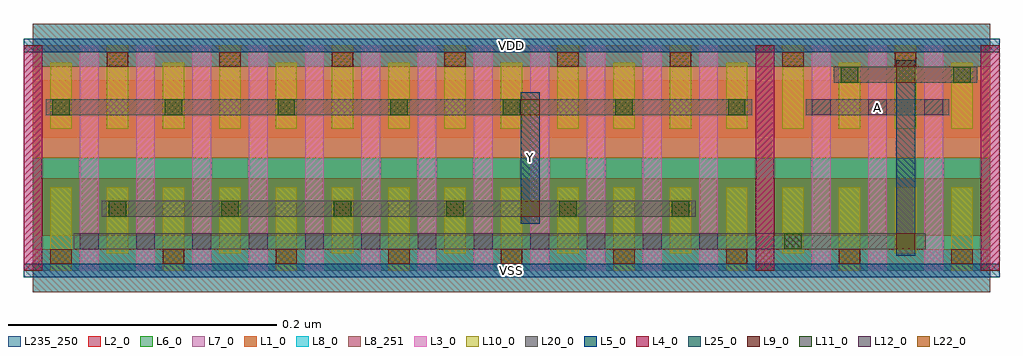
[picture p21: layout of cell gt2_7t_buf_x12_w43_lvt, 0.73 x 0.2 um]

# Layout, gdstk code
import gdstk
lib = gdstk.Library(unit=1e-6, precision=5e-10)
def R(c, l, rs):  # rectangles x0, y0, x1, y1
    for r in rs: c.add(gdstk.rectangle(r[:2], r[2:], *l))
def A(c, l, x, y, w, h, nx, ny, dx, dy):  # array of equal rectangles
    R(c, l, [(x+i*dx, y+j*dy, x+i*dx+w, y+j*dy+h) for i in range(nx) for j in range(ny)])
L1_0 = (1, 0)
L2_0 = (2, 0)
L3_0 = (3, 0)
L4_0 = (4, 0)
L5_0 = (5, 0)
L6_0 = (6, 0)
L7_0 = (7, 0)
L8_0 = (8, 0)
L8_251 = (8, 251)
L9_0 = (9, 0)
L10_0 = (10, 0)
L11_0 = (11, 0)
L12_0 = (12, 0)
L20_0 = (20, 0)
L22_0 = (22, 0)
L25_0 = (25, 0)
L235_250 = (235, 250)

gt2_7t_buf_x12_w43_lvt = lib.new_cell('gt2_7t_buf_x12_w43_lvt')
R(gt2_7t_buf_x12_w43_lvt, L1_0, [(0,0.084,0.714,0.168)])
R(gt2_7t_buf_x12_w43_lvt, L2_0, [(0,0.026,0.714,0.069), (0,0.099,0.714,0.142)])
A(gt2_7t_buf_x12_w43_lvt, L3_0, -0.007, 0, 0.014, 0.168, 18, 1, 0.042, 0)
R(gt2_7t_buf_x12_w43_lvt, L4_0, [(-0.007,0,0.007,0.168), (0.539,0,0.553,0.168), (0.707,0,0.721,0.168)])
R(gt2_7t_buf_x12_w43_lvt, L5_0, [(-0.007,-0.005,0.721,0.005), (-0.007,0.163,0.721,0.173)])
R(gt2_7t_buf_x12_w43_lvt, L6_0, [(0,0,0.714,0.084)])
R(gt2_7t_buf_x12_w43_lvt, L7_0, [(0,0.084,0.714,0.168)])
R(gt2_7t_buf_x12_w43_lvt, L8_0, [(0,-0.016,0.714,0.016), (0,0.152,0.714,0.184)])
R(gt2_7t_buf_x12_w43_lvt, L8_251, [(0,-0.016,0.714,0.016), (0,0.152,0.714,0.184)])
A(gt2_7t_buf_x12_w43_lvt, L9_0, 0.013, 0.005, 0.016, 0.011, 9, 1, 0.084, 0)
A(gt2_7t_buf_x12_w43_lvt, L9_0, 0.055, 0.152, 0.016, 0.011, 8, 1, 0.084, 0)
A(gt2_7t_buf_x12_w43_lvt, L10_0, 0.013, 0, 0.016, 0.062, 9, 1, 0.084, 0)
A(gt2_7t_buf_x12_w43_lvt, L10_0, 0.055, 0.013, 0.016, 0.049, 8, 1, 0.084, 0)
A(gt2_7t_buf_x12_w43_lvt, L10_0, 0.013, 0.106, 0.016, 0.049, 9, 1, 0.084, 0)
A(gt2_7t_buf_x12_w43_lvt, L10_0, 0.055, 0.106, 0.016, 0.062, 8, 1, 0.084, 0)
A(gt2_7t_buf_x12_w43_lvt, L11_0, 0.0565, 0.04, 0.013, 0.012, 6, 1, 0.084, 0)
A(gt2_7t_buf_x12_w43_lvt, L11_0, 0.0145, 0.116, 0.013, 0.012, 7, 1, 0.084, 0)
R(gt2_7t_buf_x12_w43_lvt, L11_0, [(0.5605,0.016,0.5735,0.028), (0.6445,0.016,0.6575,0.028), (0.6025,0.14,0.6155,0.152), (0.6865,0.14,0.6995,0.152)])
A(gt2_7t_buf_x12_w43_lvt, L12_0, 0.035, 0.016, 0.014, 0.012, 12, 1, 0.042, 0)
A(gt2_7t_buf_x12_w43_lvt, L12_0, 0.581, 0.116, 0.014, 0.012, 3, 1, 0.042, 0)
R(gt2_7t_buf_x12_w43_lvt, L20_0, [(0.0305,0.016,0.666,0.028), (0.0515,0.04,0.4945,0.052), (0.0095,0.116,0.5365,0.128), (0.5765,0.116,0.6835,0.128), (0.5975,0.14,0.7045,0.152)])
R(gt2_7t_buf_x12_w43_lvt, L22_0, [(0.644,0.016,0.658,0.028), (0.364,0.04,0.378,0.052), (0.364,0.116,0.378,0.128), (0.644,0.14,0.658,0.152)])
R(gt2_7t_buf_x12_w43_lvt, L25_0, [(0.644,0.011,0.658,0.157), (0.364,0.035,0.378,0.133)])
R(gt2_7t_buf_x12_w43_lvt, L235_250, [(0,0,0.714,0.168)])
gt2_7t_buf_x12_w43_lvt.add(gdstk.Label('VSS', (0.357,0), layer=8, texttype=251))
gt2_7t_buf_x12_w43_lvt.add(gdstk.Label('VDD', (0.357,0.168), layer=8, texttype=251))
gt2_7t_buf_x12_w43_lvt.add(gdstk.Label('A', (0.63,0.122), layer=20, texttype=251))
gt2_7t_buf_x12_w43_lvt.add(gdstk.Label('Y', (0.371,0.084), layer=25, texttype=251))

lib.write_gds('gt2_7t_buf_x12_w43_lvt.gds')
